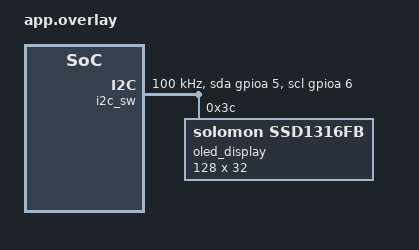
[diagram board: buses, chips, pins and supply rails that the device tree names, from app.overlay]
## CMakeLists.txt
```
cmake_minimum_required(VERSION 3.20.0)
list(APPEND ZEPHYR_EXTRA_MODULES ${CMAKE_CURRENT_SOURCE_DIR}/drivers)
find_package(Zephyr REQUIRED HINTS $ENV{ZEPHYR_BASE})
project(ssd1316)

include(ExternalProject)
include(CMakePrintHelpers)

zephyr_get_system_include_directories_for_lang_as_string(C ext_system_includes)
zephyr_get_include_directories_for_lang_as_string(C ext_includes)
zephyr_get_compile_definitions_for_lang_as_string(C ext_defs)
zephyr_get_compile_options_for_lang_as_String(C ext_opts)

set(CMAKE_C_STANDARD 17)
set(CMAKE_C_STANDARD_REQUIRED ON)
set(CMAKE_C_EXTENSIONS OFF)

target_sources(app PRIVATE src/main.c src/droid_sans_mono_8.c)
target_include_directories(app PRIVATE drivers/display)
```

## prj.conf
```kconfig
CONFIG_MAIN_STACK_SIZE=4096
CONFIG_IDLE_STACK_SIZE=1024
CONFIG_ISR_STACK_SIZE=2048
CONFIG_HEAP_MEM_POOL_SIZE=16384
CONFIG_EVENTS=y
CONFIG_MULTITHREADING=y
CONFIG_ARM_MPU=y

CONFIG_I2C=y
CONFIG_I2C_GPIO=y

CONFIG_DISPLAY=y
CONFIG_SSD1316=y
CONFIG_SSD1316_DEFAULT_CONTRAST=128

CONFIG_LVGL=y
CONFIG_LV_Z_MEM_POOL_SIZE=65536
CONFIG_LV_Z_BUFFER_ALLOC_STATIC=y
CONFIG_LV_Z_VDB_SIZE=64
CONFIG_LV_Z_FULL_REFRESH=n
CONFIG_LV_COLOR_DEPTH_1=y
CONFIG_LV_Z_BITS_PER_PIXEL=1

CONFIG_LV_USE_THEME_DEFAULT=y
CONFIG_LV_THEME_DEFAULT_DARK=y

CONFIG_LV_FONT_MONTSERRAT_8=y
CONFIG_LV_FONT_MONTSERRAT_10=y
CONFIG_LV_FONT_MONTSERRAT_16=y

CONFIG_PRINTK=y
CONFIG_LOG=y
CONFIG_LOG_MODE_IMMEDIATE=y
CONFIG_I2C_LOG_LEVEL_DBG=y
CONFIG_DEBUG_OPTIMIZATIONS=y
```

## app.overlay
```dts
/ {
    chosen {
		zephyr,display = &oled_display;
	};

    i2c_sw: i2c_gpio_0 {
        compatible = "gpio-i2c"; 
        status = "okay";
        scl-gpios = <&gpioa 6 (GPIO_PULL_UP | GPIO_OPEN_DRAIN)>;
        sda-gpios = <&gpioa 5 (GPIO_PULL_UP | GPIO_OPEN_DRAIN)>;
        clock-frequency = <100000>; 
        #address-cells = <1>;
        #size-cells = <0>;

        oled_display: ssd1316@3c {
            compatible = "solomon,ssd1316fb";
            reg = <0x3c>;
            width = <128>;
            height = <32>;
            segment-offset = <0>;
            page-offset = <0>;
            display-offset = <0>;
            multiplex-ratio = <31>;
            segment-remap;
            com-invdir;
            com-sequential;
            prechargep = <0xF1>;
            // inversion-on;
        };
    };
};
```

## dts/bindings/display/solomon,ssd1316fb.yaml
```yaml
description: Solomon Systech SSD1316 display controller

compatible: "solomon,ssd1316fb"
include: [display-controller.yaml, base.yaml]

on-bus: i2c

properties:
    height:
      type: int
      required: true
    width:
      type: int
      required: true
    reg:
      required: true
    multiplex-ratio:
      type: int
      required: true
    display-offset:
      type: int
      default: 0
    segment-remap:
      type: boolean
    com-invdir:
      type: boolean
    com-sequential:
      type: boolean
    prechargep:
      type: int
      default: 0x22
    reset-gpios:
      type: phandle-array
    supply-gpios:
      type: phandle-array
    data-cmd-gpios:
      type: phandle-array
    ready-time-ms:
      type: int
      default: 100
    inversion-on:
      type: boolean
    segment-offset:
      type: int
      default: 0
    page-offset:
      type: int
      default: 0
```

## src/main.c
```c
#include <zephyr/kernel.h>
#include <zephyr/device.h>
#include <zephyr/drivers/display.h>
#include <lvgl.h>

LV_FONT_DECLARE(droid_sans_mono_8);

int main(void)
{
    const struct device *display_dev = DEVICE_DT_GET(DT_CHOSEN(zephyr_display));
    if (!device_is_ready(display_dev)) return 0;

    lv_obj_t *label = lv_label_create(lv_scr_act());
    // lv_obj_set_style_text_font(label, &lv_font_montserrat_16, 0);
    lv_obj_set_style_text_font(label, &droid_sans_mono_8, 0);
    lv_label_set_text(label, "Yeisonint");
    lv_obj_align(label, LV_ALIGN_TOP_LEFT, 0, 0);

    lv_obj_t *debug = lv_label_create(lv_scr_act());
    // lv_obj_set_style_text_font(debug, &lv_font_montserrat_16, 0);
    lv_obj_set_style_text_font(debug, &droid_sans_mono_8, 0);
    lv_obj_align(debug, LV_ALIGN_BOTTOM_RIGHT, 0, 0);

    uint32_t uptime = 0;
    
    int64_t next_update = k_uptime_get() + 1000;
    int64_t now = k_uptime_get();

    while (1) {
        lv_timer_handler();

        now = k_uptime_get();
        if (now >= next_update) {
            uptime++;
            next_update = now + 1000;
            lv_label_set_text_fmt(debug, "Uptime: %u s", uptime);
			printk("Uptime: %u s\n", uptime);

        }

        k_msleep(50); 
    }
}
```

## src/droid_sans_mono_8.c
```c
/*******************************************************************************
 * Size: 8 px
 * Bpp: 1
 * Opts: --font fonts/droid-sans-mono.ttf --size 8 --bpp 1 --format lvgl -r 0x20-0x7F -o src/droid_sans_mono_8.c --lv-include lvgl.h
 ******************************************************************************/

#ifdef LV_LVGL_H_INCLUDE_SIMPLE
#include "lvgl.h"
#else
#include "lvgl.h"
#endif

#ifndef DROID_SANS_MONO_8
#define DROID_SANS_MONO_8 1
#endif

#if DROID_SANS_MONO_8

/*-----------------
 *    BITMAPS
 *----------------*/

/*Store the image of the glyphs*/
static LV_ATTRIBUTE_LARGE_CONST const uint8_t glyph_bitmap[] = {
    /* U+0020 " " */
    0x0,

    /* U+0021 "!" */
    0xf2,

    /* U+0022 "\"" */
    0xb4,

    /* U+0023 "#" */
    0x52, 0xbe, 0xaf, 0x32, 0x80,

    /* U+0024 "$" */
    0x5f, 0x66, 0xfa,

    /* U+0025 "%" */
    0xd7, 0x39, 0x83, 0xb4, 0xe0,

    /* U+0026 "&" */
    0xf4, 0xac, 0xca, 0xcb, 0xa0,

    /* U+0027 "'" */
    0xc0,

    /* U+0028 "(" */
    0x4a, 0x49, 0x12,

    /* U+0029 ")" */
    0x48, 0x92, 0x52,

    /* U+002A "*" */
    0x4f, 0x50,

    /* U+002B "+" */
    0x27, 0xc8, 0x40,

    /* U+002C "," */
    0xc0,

    /* U+002D "-" */
    0xe0,

    /* U+002E "." */
    0x80,

    /* U+002F "/" */
    0x29, 0x29, 0x20,

    /* U+0030 "0" */
    0x69, 0x99, 0x99, 0x60,

    /* U+0031 "1" */
    0x75, 0x54,

    /* U+0032 "2" */
    0x71, 0x12, 0x24, 0xf0,

    /* U+0033 "3" */
    0x71, 0x16, 0x11, 0xe0,

    /* U+0034 "4" */
    0x11, 0x94, 0xa9, 0x7c, 0x40,

    /* U+0035 "5" */
    0x68, 0x8e, 0x11, 0xe0,

    /* U+0036 "6" */
    0x6c, 0x8f, 0x99, 0x60,

    /* U+0037 "7" */
    0xf1, 0x22, 0x24, 0x40,

    /* U+0038 "8" */
    0x79, 0x96, 0x99, 0x60,

    /* U+0039 "9" */
    0x69, 0x99, 0x71, 0x60,

    /* U+003A ":" */
    0x88,

    /* U+003B ";" */
    0x8c,

    /* U+003C "<" */
    0x2c, 0x43,

    /* U+003D "=" */
    0xe3, 0x80,

    /* U+003E ">" */
    0xc2, 0x68,

    /* U+003F "?" */
    0xe1, 0x12, 0x40, 0x40,

    /* U+0040 "@" */
    0x76, 0xef, 0xbd, 0xff, 0xe,

    /* U+0041 "A" */
    0x23, 0x18, 0xa7, 0x4a, 0x20,

    /* U+0042 "B" */
    0xf9, 0x9e, 0x99, 0xe0,

    /* U+0043 "C" */
    0x7c, 0x88, 0x8c, 0x70,

    /* U+0044 "D" */
    0xeb, 0x99, 0x9b, 0xe0,

    /* U+0045 "E" */
    0xf8, 0x8e, 0x88, 0xf0,

    /* U+0046 "F" */
    0xf8, 0x8e, 0x88, 0x80,

    /* U+0047 "G" */
    0x7c, 0x8b, 0x99, 0x70,

    /* U+0048 "H" */
    0x99, 0x9f, 0x99, 0x90,

    /* U+0049 "I" */
    0xe9, 0x24, 0xb8,

    /* U+004A "J" */
    0x11, 0x11, 0x11, 0xe0,

    /* U+004B "K" */
    0x9a, 0xcc, 0xaa, 0x90,

    /* U+004C "L" */
    0x92, 0x49, 0x38,

    /* U+004D "M" */
    0x99, 0xff, 0xfd, 0xd0,

    /* U+004E "N" */
    0x9d, 0xdd, 0xbb, 0x90,

    /* U+004F "O" */
    0x69, 0x99, 0x99, 0x60,

    /* U+0050 "P" */
    0xe9, 0x99, 0xe8, 0x80,

    /* U+0051 "Q" */
    0x69, 0x99, 0x99, 0x62, 0x10,

    /* U+0052 "R" */
    0xe9, 0x9e, 0xa9, 0x90,

    /* U+0053 "S" */
    0xf8, 0x86, 0x11, 0xe0,

    /* U+0054 "T" */
    0xf9, 0x8, 0x42, 0x10, 0x80,

    /* U+0055 "U" */
    0x99, 0x99, 0x99, 0x60,

    /* U+0056 "V" */
    0x8c, 0x94, 0xa6, 0x10, 0x80,

    /* U+0057 "W" */
    0x8c, 0x6d, 0x6f, 0x7a, 0x40,

    /* U+0058 "X" */
    0x92, 0x88, 0x46, 0x2a, 0x40,

    /* U+0059 "Y" */
    0x8a, 0x94, 0x42, 0x10, 0x80,

    /* U+005A "Z" */
    0xf1, 0x24, 0x48, 0xf0,

    /* U+005B "[" */
    0xea, 0xab,

    /* U+005C "\\" */
    0x92, 0x24, 0x88,

    /* U+005D "]" */
    0xd5, 0x57,

    /* U+005E "^" */
    0x26, 0x59,

    /* U+005F "_" */
    0xf8,

    /* U+0060 "`" */
    0x40,

    /* U+0061 "a" */
    0x71, 0xf9, 0xf0,

    /* U+0062 "b" */
    0x88, 0xe9, 0x99, 0xe0,

    /* U+0063 "c" */
    0x78, 0x88, 0x70,

    /* U+0064 "d" */
    0x11, 0x79, 0x99, 0x70,

    /* U+0065 "e" */
    0x69, 0xf8, 0x70,

    /* U+0066 "f" */
    0x74, 0xf4, 0x44, 0x40,

    /* U+0067 "g" */
    0xf9, 0x74, 0x79, 0xf0,

    /* U+0068 "h" */
    0x88, 0xf9, 0x99, 0x90,

    /* U+0069 "i" */
    0x43, 0x24, 0xb8,

    /* U+006A "j" */
    0x23, 0x92, 0x49, 0xe0,

    /* U+006B "k" */
    0x88, 0xaa, 0xca, 0x90,

    /* U+006C "l" */
    0xc9, 0x24, 0xb8,

    /* U+006D "m" */
    0xfd, 0x6b, 0x5a, 0x80,

    /* U+006E "n" */
    0xf9, 0x99, 0x90,

    /* U+006F "o" */
    0x69, 0x99, 0x60,

    /* U+0070 "p" */
    0xe9, 0x99, 0xe8, 0x80,

    /* U+0071 "q" */
    0x79, 0x99, 0x71, 0x10,

    /* U+0072 "r" */
    0xf2, 0x48,

    /* U+0073 "s" */
    0xf1, 0x1e,

    /* U+0074 "t" */
    0x44, 0xf4, 0x44, 0x70,

    /* U+0075 "u" */
    0x99, 0x99, 0xf0,

    /* U+0076 "v" */
    0x95, 0x56, 0x20,

    /* U+0077 "w" */
    0xaf, 0x7c, 0xe5, 0x0,

    /* U+0078 "x" */
    0x56, 0x26, 0x50,

    /* U+0079 "y" */
    0x95, 0x56, 0x22, 0xc0,

    /* U+007A "z" */
    0xf2, 0x48, 0xf0,

    /* U+007B "{" */
    0x69, 0x28, 0x93,

    /* U+007C "|" */
    0xff, 0x80,

    /* U+007D "}" */
    0xc9, 0x22, 0x96,

    /* U+007E "~" */
    0xe0
};


/*---------------------
 *  GLYPH DESCRIPTION
 *--------------------*/

static const lv_font_fmt_txt_glyph_dsc_t glyph_dsc[] = {
    {.bitmap_index = 0, .adv_w = 0, .box_w = 0, .box_h = 0, .ofs_x = 0, .ofs_y = 0} /* id = 0 reserved */,
    {.bitmap_index = 0, .adv_w = 77, .box_w = 1, .box_h = 1, .ofs_x = 0, .ofs_y = 0},
    {.bitmap_index = 1, .adv_w = 77, .box_w = 1, .box_h = 7, .ofs_x = 2, .ofs_y = 0},
    {.bitmap_index = 2, .adv_w = 77, .box_w = 3, .box_h = 2, .ofs_x = 1, .ofs_y = 5},
    {.bitmap_index = 3, .adv_w = 77, .box_w = 5, .box_h = 7, .ofs_x = 0, .ofs_y = 0},
    {.bitmap_index = 8, .adv_w = 77, .box_w = 3, .box_h = 8, .ofs_x = 1, .ofs_y = -1},
    {.bitmap_index = 11, .adv_w = 77, .box_w = 5, .box_h = 7, .ofs_x = 0, .ofs_y = 0},
    {.bitmap_index = 16, .adv_w = 77, .box_w = 5, .box_h = 7, .ofs_x = 1, .ofs_y = 0},
    {.bitmap_index = 21, .adv_w = 77, .box_w = 1, .box_h = 2, .ofs_x = 2, .ofs_y = 5},
    {.bitmap_index = 22, .adv_w = 77, .box_w = 3, .box_h = 8, .ofs_x = 1, .ofs_y = -1},
    {.bitmap_index = 25, .adv_w = 77, .box_w = 3, .box_h = 8, .ofs_x = 1, .ofs_y = -1},
    {.bitmap_index = 28, .adv_w = 77, .box_w = 3, .box_h = 4, .ofs_x = 1, .ofs_y = 3},
    {.bitmap_index = 30, .adv_w = 77, .box_w = 5, .box_h = 4, .ofs_x = 0, .ofs_y = 1},
    {.bitmap_index = 33, .adv_w = 77, .box_w = 1, .box_h = 2, .ofs_x = 2, .ofs_y = -1},
    {.bitmap_index = 34, .adv_w = 77, .box_w = 3, .box_h = 1, .ofs_x = 1, .ofs_y = 2},
    {.bitmap_index = 35, .adv_w = 77, .box_w = 1, .box_h = 1, .ofs_x = 2, .ofs_y = 0},
    {.bitmap_index = 36, .adv_w = 77, .box_w = 3, .box_h = 7, .ofs_x = 1, .ofs_y = 0},
    {.bitmap_index = 39, .adv_w = 77, .box_w = 4, .box_h = 7, .ofs_x = 1, .ofs_y = 0},
    {.bitmap_index = 43, .adv_w = 77, .box_w = 2, .box_h = 7, .ofs_x = 1, .ofs_y = 0},
    {.bitmap_index = 45, .adv_w = 77, .box_w = 4, .box_h = 7, .ofs_x = 0, .ofs_y = 0},
    {.bitmap_index = 49, .adv_w = 77, .box_w = 4, .box_h = 7, .ofs_x = 0, .ofs_y = 0},
    {.bitmap_index = 53, .adv_w = 77, .box_w = 5, .box_h = 7, .ofs_x = 0, .ofs_y = 0},
    {.bitmap_index = 58, .adv_w = 77, .box_w = 4, .box_h = 7, .ofs_x = 0, .ofs_y = 0},
    {.bitmap_index = 62, .adv_w = 77, .box_w = 4, .box_h = 7, .ofs_x = 1, .ofs_y = 0},
    {.bitmap_index = 66, .adv_w = 77, .box_w = 4, .box_h = 7, .ofs_x = 0, .ofs_y = 0},
    {.bitmap_index = 70, .adv_w = 77, .box_w = 4, .box_h = 7, .ofs_x = 1, .ofs_y = 0},
    {.bitmap_index = 74, .adv_w = 77, .box_w = 4, .box_h = 7, .ofs_x = 1, .ofs_y = 0},
    {.bitmap_index = 78, .adv_w = 77, .box_w = 1, .box_h = 5, .ofs_x = 2, .ofs_y = 0},
    {.bitmap_index = 79, .adv_w = 77, .box_w = 1, .box_h = 6, .ofs_x = 2, .ofs_y = -1},
    {.bitmap_index = 80, .adv_w = 77, .box_w = 4, .box_h = 4, .ofs_x = 1, .ofs_y = 1},
    {.bitmap_index = 82, .adv_w = 77, .box_w = 3, .box_h = 3, .ofs_x = 1, .ofs_y = 2},
    {.bitmap_index = 84, .adv_w = 77, .box_w = 4, .box_h = 4, .ofs_x = 1, .ofs_y = 1},
    {.bitmap_index = 86, .adv_w = 77, .box_w = 4, .box_h = 7, .ofs_x = 1, .ofs_y = 0},
    {.bitmap_index = 90, .adv_w = 77, .box_w = 5, .box_h = 8, .ofs_x = 1, .ofs_y = -1},
    {.bitmap_index = 95, .adv_w = 77, .box_w = 5, .box_h = 7, .ofs_x = 0, .ofs_y = 0},
    {.bitmap_index = 100, .adv_w = 77, .box_w = 4, .box_h = 7, .ofs_x = 1, .ofs_y = 0},
    {.bitmap_index = 104, .adv_w = 77, .box_w = 4, .box_h = 7, .ofs_x = 1, .ofs_y = 0},
    {.bitmap_index = 108, .adv_w = 77, .box_w = 4, .box_h = 7, .ofs_x = 1, .ofs_y = 0},
    {.bitmap_index = 112, .adv_w = 77, .box_w = 4, .box_h = 7, .ofs_x = 1, .ofs_y = 0},
    {.bitmap_index = 116, .adv_w = 77, .box_w = 4, .box_h = 7, .ofs_x = 1, .ofs_y = 0},
    {.bitmap_index = 120, .adv_w = 77, .box_w = 4, .box_h = 7, .ofs_x = 1, .ofs_y = 0},
    {.bitmap_index = 124, .adv_w = 77, .box_w = 4, .box_h = 7, .ofs_x = 1, .ofs_y = 0},
    {.bitmap_index = 128, .adv_w = 77, .box_w = 3, .box_h = 7, .ofs_x = 1, .ofs_y = 0},
    {.bitmap_index = 131, .adv_w = 77, .box_w = 4, .box_h = 7, .ofs_x = 0, .ofs_y = 0},
    {.bitmap_index = 135, .adv_w = 77, .box_w = 4, .box_h = 7, .ofs_x = 1, .ofs_y = 0},
    {.bitmap_index = 139, .adv_w = 77, .box_w = 3, .box_h = 7, .ofs_x = 1, .ofs_y = 0},
    {.bitmap_index = 142, .adv_w = 77, .box_w = 4, .box_h = 7, .ofs_x = 1, .ofs_y = 0},
    {.bitmap_index = 146, .adv_w = 77, .box_w = 4, .box_h = 7, .ofs_x = 1, .ofs_y = 0},
    {.bitmap_index = 150, .adv_w = 77, .box_w = 4, .box_h = 7, .ofs_x = 1, .ofs_y = 0},
    {.bitmap_index = 154, .adv_w = 77, .box_w = 4, .box_h = 7, .ofs_x = 1, .ofs_y = 0},
    {.bitmap_index = 158, .adv_w = 77, .box_w = 4, .box_h = 9, .ofs_x = 1, .ofs_y = -2},
    {.bitmap_index = 163, .adv_w = 77, .box_w = 4, .box_h = 7, .ofs_x = 1, .ofs_y = 0},
    {.bitmap_index = 167, .adv_w = 77, .box_w = 4, .box_h = 7, .ofs_x = 1, .ofs_y = 0},
    {.bitmap_index = 171, .adv_w = 77, .box_w = 5, .box_h = 7, .ofs_x = 0, .ofs_y = 0},
    {.bitmap_index = 176, .adv_w = 77, .box_w = 4, .box_h = 7, .ofs_x = 1, .ofs_y = 0},
    {.bitmap_index = 180, .adv_w = 77, .box_w = 5, .box_h = 7, .ofs_x = 0, .ofs_y = 0},
    {.bitmap_index = 185, .adv_w = 77, .box_w = 5, .box_h = 7, .ofs_x = 0, .ofs_y = 0},
    {.bitmap_index = 190, .adv_w = 77, .box_w = 5, .box_h = 7, .ofs_x = 0, .ofs_y = 0},
    {.bitmap_index = 195, .adv_w = 77, .box_w = 5, .box_h = 7, .ofs_x = 0, .ofs_y = 0},
    {.bitmap_index = 200, .adv_w = 77, .box_w = 4, .box_h = 7, .ofs_x = 1, .ofs_y = 0},
    {.bitmap_index = 204, .adv_w = 77, .box_w = 2, .box_h = 8, .ofs_x = 2, .ofs_y = -1},
    {.bitmap_index = 206, .adv_w = 77, .box_w = 3, .box_h = 7, .ofs_x = 1, .ofs_y = 0},
    {.bitmap_index = 209, .adv_w = 77, .box_w = 2, .box_h = 8, .ofs_x = 1, .ofs_y = -1},
    {.bitmap_index = 211, .adv_w = 77, .box_w = 4, .box_h = 4, .ofs_x = 0, .ofs_y = 2},
    {.bitmap_index = 213, .adv_w = 77, .box_w = 5, .box_h = 1, .ofs_x = 0, .ofs_y = -2},
    {.bitmap_index = 214, .adv_w = 77, .box_w = 1, .box_h = 2, .ofs_x = 2, .ofs_y = 6},
    {.bitmap_index = 215, .adv_w = 77, .box_w = 4, .box_h = 5, .ofs_x = 1, .ofs_y = 0},
    {.bitmap_index = 218, .adv_w = 77, .box_w = 4, .box_h = 7, .ofs_x = 1, .ofs_y = 0},
    {.bitmap_index = 222, .adv_w = 77, .box_w = 4, .box_h = 5, .ofs_x = 1, .ofs_y = 0},
    {.bitmap_index = 225, .adv_w = 77, .box_w = 4, .box_h = 7, .ofs_x = 1, .ofs_y = 0},
    {.bitmap_index = 229, .adv_w = 77, .box_w = 4, .box_h = 5, .ofs_x = 1, .ofs_y = 0},
    {.bitmap_index = 232, .adv_w = 77, .box_w = 4, .box_h = 7, .ofs_x = 1, .ofs_y = 0},
    {.bitmap_index = 236, .adv_w = 77, .box_w = 4, .box_h = 7, .ofs_x = 1, .ofs_y = -2},
    {.bitmap_index = 240, .adv_w = 77, .box_w = 4, .box_h = 7, .ofs_x = 1, .ofs_y = 0},
    {.bitmap_index = 244, .adv_w = 77, .box_w = 3, .box_h = 7, .ofs_x = 1, .ofs_y = 0},
    {.bitmap_index = 247, .adv_w = 77, .box_w = 3, .box_h = 9, .ofs_x = 0, .ofs_y = -2},
    {.bitmap_index = 251, .adv_w = 77, .box_w = 4, .box_h = 7, .ofs_x = 1, .ofs_y = 0},
    {.bitmap_index = 255, .adv_w = 77, .box_w = 3, .box_h = 7, .ofs_x = 1, .ofs_y = 0},
    {.bitmap_index = 258, .adv_w = 77, .box_w = 5, .box_h = 5, .ofs_x = 1, .ofs_y = 0},
    {.bitmap_index = 262, .adv_w = 77, .box_w = 4, .box_h = 5, .ofs_x = 1, .ofs_y = 0},
    {.bitmap_index = 265, .adv_w = 77, .box_w = 4, .box_h = 5, .ofs_x = 1, .ofs_y = 0},
    {.bitmap_index = 268, .adv_w = 77, .box_w = 4, .box_h = 7, .ofs_x = 1, .ofs_y = -2},
    {.bitmap_index = 272, .adv_w = 77, .box_w = 4, .box_h = 7, .ofs_x = 1, .ofs_y = -2},
    {.bitmap_index = 276, .adv_w = 77, .box_w = 3, .box_h = 5, .ofs_x = 1, .ofs_y = 0},
    {.bitmap_index = 278, .adv_w = 77, .box_w = 3, .box_h = 5, .ofs_x = 1, .ofs_y = 0},
    {.bitmap_index = 280, .adv_w = 77, .box_w = 4, .box_h = 7, .ofs_x = 1, .ofs_y = 0},
    {.bitmap_index = 284, .adv_w = 77, .box_w = 4, .box_h = 5, .ofs_x = 1, .ofs_y = 0},
    {.bitmap_index = 287, .adv_w = 77, .box_w = 4, .box_h = 5, .ofs_x = 0, .ofs_y = 0},
    {.bitmap_index = 290, .adv_w = 77, .box_w = 5, .box_h = 5, .ofs_x = 0, .ofs_y = 0},
    {.bitmap_index = 294, .adv_w = 77, .box_w = 4, .box_h = 5, .ofs_x = 0, .ofs_y = 0},
    {.bitmap_index = 297, .adv_w = 77, .box_w = 4, .box_h = 7, .ofs_x = 0, .ofs_y = -2},
    {.bitmap_index = 301, .adv_w = 77, .box_w = 4, .box_h = 5, .ofs_x = 1, .ofs_y = 0},
    {.bitmap_index = 304, .adv_w = 77, .box_w = 3, .box_h = 8, .ofs_x = 1, .ofs_y = -1},
    {.bitmap_index = 307, .adv_w = 77, .box_w = 1, .box_h = 9, .ofs_x = 2, .ofs_y = -2},
    {.bitmap_index = 309, .adv_w = 77, .box_w = 3, .box_h = 8, .ofs_x = 1, .ofs_y = -1},
    {.bitmap_index = 312, .adv_w = 77, .box_w = 3, .box_h = 1, .ofs_x = 1, .ofs_y = 2}
};

/*---------------------
 *  CHARACTER MAPPING
 *--------------------*/



/*Collect the unicode lists and glyph_id offsets*/
static const lv_font_fmt_txt_cmap_t cmaps[] =
{
    {
        .range_start = 32, .range_length = 95, .glyph_id_start = 1,
        .unicode_list = NULL, .glyph_id_ofs_list = NULL, .list_length = 0, .type = LV_FONT_FMT_TXT_CMAP_FORMAT0_TINY
    }
};



/*--------------------
 *  ALL CUSTOM DATA
 *--------------------*/

#if LVGL_VERSION_MAJOR == 8
/*Store all the custom data of the font*/
static  lv_font_fmt_txt_glyph_cache_t cache;
#endif

#if LVGL_VERSION_MAJOR >= 8
static const lv_font_fmt_txt_dsc_t font_dsc = {
#else
static lv_font_fmt_txt_dsc_t font_dsc = {
#endif
    .glyph_bitmap = glyph_bitmap,
    .glyph_dsc = glyph_dsc,
    .cmaps = cmaps,
    .kern_dsc = NULL,
    .kern_scale = 0,
    .cmap_num = 1,
    .bpp = 1,
    .kern_classes = 0,
    .bitmap_format = 0,
#if LVGL_VERSION_MAJOR == 8
    .cache = &cache
#endif
};



/*-----------------
 *  PUBLIC FONT
 *----------------*/

/*Initialize a public general font descriptor*/
#if LVGL_VERSION_MAJOR >= 8
const lv_font_t droid_sans_mono_8 = {
#else
lv_font_t droid_sans_mono_8 = {
#endif
    .get_glyph_dsc = lv_font_get_glyph_dsc_fmt_txt,    /*Function pointer to get glyph's data*/
    .get_glyph_bitmap = lv_font_get_bitmap_fmt_txt,    /*Function pointer to get glyph's bitmap*/
    .line_height = 10,          /*The maximum line height required by the font*/
    .base_line = 2,             /*Baseline measured from the bottom of the line*/
#if !(LVGL_VERSION_MAJOR == 6 && LVGL_VERSION_MINOR == 0)
    .subpx = LV_FONT_SUBPX_NONE,
#endif
#if LV_VERSION_CHECK(7, 4, 0) || LVGL_VERSION_MAJOR >= 8
    .underline_position = -1,
    .underline_thickness = 0,
#endif
    .dsc = &font_dsc,          /*The custom font data. Will be accessed by `get_glyph_bitmap/dsc` */
#if LV_VERSION_CHECK(8, 2, 0) || LVGL_VERSION_MAJOR >= 9
    .fallback = NULL,
#endif
    .user_data = NULL,
};



#endif /*#if DROID_SANS_MONO_8*/
```
